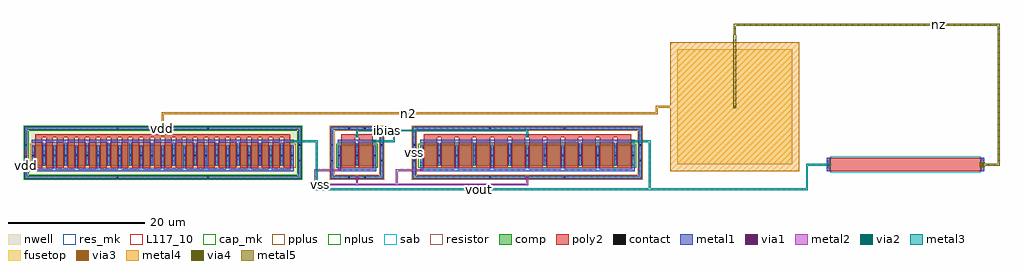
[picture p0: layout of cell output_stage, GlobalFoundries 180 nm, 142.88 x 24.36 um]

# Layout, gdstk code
import gdstk
lib = gdstk.Library(unit=1e-6, precision=1e-09)
def R(c, l, rs):  # rectangles x0, y0, x1, y1
    for r in rs: c.add(gdstk.rectangle(r[:2], r[2:], *l))
def A(c, l, x, y, w, h, nx, ny, dx, dy):  # array of equal rectangles
    R(c, l, [(x+i*dx, y+j*dy, x+i*dx+w, y+j*dy+h) for i in range(nx) for j in range(ny)])
def P(c, l, *ps):  # polygons
    for p in ps: c.add(gdstk.Polygon(p, *l))
nwell = (21, 0)
comp = (22, 0)
poly2 = (30, 0)
pplus = (31, 0)
nplus = (32, 0)
contact = (33, 0)
metal1 = (34, 0)
via1 = (35, 0)
metal2 = (36, 0)
via2 = (38, 0)
via3 = (40, 0)
via4 = (41, 0)
metal3 = (42, 0)
metal4 = (46, 0)
sab = (49, 0)
resistor = (62, 0)
fusetop = (75, 0)
metal5 = (81, 0)
res_mk = (110, 5)
cap_mk = (117, 5)
L117_10 = (117, 10)

output_stage_m6__core = lib.new_cell('output_stage_m6__core')
R(output_stage_m6__core, nwell, [(-1.22,-1.22,39.56,6.68), (-0.15,-0.15,38.49,5.61)])
R(output_stage_m6__core, comp, [(0,0.82,38.34,3.82)])
P(output_stage_m6__core, comp, [(-1.07,-1.07),(-1.07,6.11),(-0.65,6.11),(-0.65,-0.65),(38.99,-0.65),(38.99,6.11),(-1.07,6.11),(-1.07,6.53),(39.41,6.53),(39.41,-1.07)])
A(output_stage_m6__core, poly2, 0.5, 0.57, 1, 4.47, 24, 1, 1.58, 0)
R(output_stage_m6__core, poly2, [(0.5,5.04,37.84,5.46)])
R(output_stage_m6__core, pplus, [(-0.25,0.57,38.59,4.07)])
P(output_stage_m6__core, nplus, [(-1.23,-1.23),(-1.23,5.95),(-0.49,5.95),(-0.49,-0.49),(38.83,-0.49),(38.83,5.95),(-1.23,5.95),(-1.23,6.69),(39.57,6.69),(39.57,-1.23)])
A(output_stage_m6__core, contact, 0.1, 2.21, 0.22, 0.22, 25, 1, 1.58, 0)
R(output_stage_m6__core, contact, [(12.455,-0.97,12.675,-0.75), (25.665,-0.97,25.885,-0.75), (-0.97,1.495,-0.75,1.715), (39.09,1.495,39.31,1.715), (-0.97,3.745,-0.75,3.965), (39.09,3.745,39.31,3.965), (19.06,5.14,19.28,5.36), (12.455,6.21,12.675,6.43), (25.665,6.21,25.885,6.43)])
A(output_stage_m6__core, metal1, 0, 0.42, 0.42, 0.4, 13, 1, 3.16, 0)
A(output_stage_m6__core, metal1, 0, 0.82, 0.42, 3, 25, 1, 1.58, 0)
A(output_stage_m6__core, metal1, 1.58, 3.82, 0.42, 0.4, 12, 1, 3.16, 0)
R(output_stage_m6__core, metal1, [(0,0,38.34,0.42), (0,4.22,38.34,4.64), (18.96,5.04,19.38,5.46)])
P(output_stage_m6__core, metal1, [(-1.07,-1.07),(-1.07,6.11),(-0.65,6.11),(-0.65,-0.65),(38.99,-0.65),(38.99,6.11),(-1.07,6.11),(-1.07,6.53),(39.41,6.53),(39.41,-1.07)])

m6__output_stage_m6 = lib.new_cell('m6__output_stage_m6')
m6__output_stage_m6.add(gdstk.Reference(output_stage_m6__core, (0,0)))

output_stage_mb1__core = lib.new_cell('output_stage_mb1__core')
R(output_stage_mb1__core, comp, [(0,0.82,5.58,3.82)])
P(output_stage_mb1__core, comp, [(-1.07,-1.07),(-1.07,6.11),(-0.65,6.11),(-0.65,-0.65),(6.23,-0.65),(6.23,6.11),(-1.07,6.11),(-1.07,6.53),(6.65,6.53),(6.65,-1.07)])
R(output_stage_mb1__core, poly2, [(0.5,0.57,2.5,5.04), (3.08,0.57,5.08,5.04), (0.5,5.04,5.08,5.46)])
P(output_stage_mb1__core, pplus, [(-1.23,-1.23),(-1.23,5.95),(-0.49,5.95),(-0.49,-0.49),(6.07,-0.49),(6.07,5.95),(-1.23,5.95),(-1.23,6.69),(6.81,6.69),(6.81,-1.23)])
R(output_stage_mb1__core, nplus, [(-0.25,0.57,5.83,4.07)])
A(output_stage_mb1__core, contact, 0.1, 2.21, 0.22, 0.22, 3, 1, 2.58, 0)
R(output_stage_mb1__core, contact, [(1.535,-0.97,1.755,-0.75), (3.825,-0.97,4.045,-0.75), (-0.97,1.495,-0.75,1.715), (6.33,1.495,6.55,1.715), (-0.97,3.745,-0.75,3.965), (6.33,3.745,6.55,3.965), (2.68,5.14,2.9,5.36), (1.535,6.21,1.755,6.43), (3.825,6.21,4.045,6.43)])
A(output_stage_mb1__core, metal1, 0, 0.82, 0.42, 3, 3, 1, 2.58, 0)
R(output_stage_mb1__core, metal1, [(0,0,5.58,0.42), (0,0.42,0.42,0.82), (5.16,0.42,5.58,0.82), (2.58,3.82,3,4.22), (0,4.22,5.58,4.64), (2.58,5.04,3,5.46)])
P(output_stage_mb1__core, metal1, [(-1.07,-1.07),(-1.07,6.11),(-0.65,6.11),(-0.65,-0.65),(6.23,-0.65),(6.23,6.11),(-1.07,6.11),(-1.07,6.53),(6.65,6.53),(6.65,-1.07)])

mb1__output_stage_mb1 = lib.new_cell('mb1__output_stage_mb1')
mb1__output_stage_mb1.add(gdstk.Reference(output_stage_mb1__core, (0,0)))

output_stage_m7__core = lib.new_cell('output_stage_m7__core')
R(output_stage_m7__core, comp, [(0,0.82,31.38,3.82)])
P(output_stage_m7__core, comp, [(-1.07,-1.07),(-1.07,6.11),(-0.65,6.11),(-0.65,-0.65),(32.03,-0.65),(32.03,6.11),(-1.07,6.11),(-1.07,6.53),(32.45,6.53),(32.45,-1.07)])
A(output_stage_m7__core, poly2, 0.5, 0.57, 2, 4.47, 12, 1, 2.58, 0)
R(output_stage_m7__core, poly2, [(0.5,5.04,30.88,5.46)])
P(output_stage_m7__core, pplus, [(-1.23,-1.23),(-1.23,5.95),(-0.49,5.95),(-0.49,-0.49),(31.87,-0.49),(31.87,5.95),(-1.23,5.95),(-1.23,6.69),(32.61,6.69),(32.61,-1.23)])
R(output_stage_m7__core, nplus, [(-0.25,0.57,31.63,4.07)])
A(output_stage_m7__core, contact, 0.1, 2.21, 0.22, 0.22, 13, 1, 2.58, 0)
R(output_stage_m7__core, contact, [(10.135,-0.97,10.355,-0.75), (21.025,-0.97,21.245,-0.75), (-0.97,1.495,-0.75,1.715), (32.13,1.495,32.35,1.715), (-0.97,3.745,-0.75,3.965), (32.13,3.745,32.35,3.965), (15.58,5.14,15.8,5.36), (10.135,6.21,10.355,6.43), (21.025,6.21,21.245,6.43)])
A(output_stage_m7__core, metal1, 0, 0.42, 0.42, 0.4, 7, 1, 5.16, 0)
A(output_stage_m7__core, metal1, 0, 0.82, 0.42, 3, 13, 1, 2.58, 0)
A(output_stage_m7__core, metal1, 2.58, 3.82, 0.42, 0.4, 6, 1, 5.16, 0)
R(output_stage_m7__core, metal1, [(0,0,31.38,0.42), (0,4.22,31.38,4.64), (15.48,5.04,15.9,5.46)])
P(output_stage_m7__core, metal1, [(-1.07,-1.07),(-1.07,6.11),(-0.65,6.11),(-0.65,-0.65),(32.03,-0.65),(32.03,6.11),(-1.07,6.11),(-1.07,6.53),(32.45,6.53),(32.45,-1.07)])

m7__output_stage_m7 = lib.new_cell('m7__output_stage_m7')
m7__output_stage_m7.add(gdstk.Reference(output_stage_m7__core, (0,0)))

output_stage_cc__core = lib.new_cell('output_stage_cc__core')
R(output_stage_cc__core, via4, [(9.33,9.33,9.59,9.59)])
R(output_stage_cc__core, metal4, [(0,0,18.92,18.92)])
R(output_stage_cc__core, fusetop, [(1.06,1.06,17.86,17.86)])
R(output_stage_cc__core, metal5, [(9.23,9.23,9.69,9.69), (9.23,9.69,9.69,19.42), (9.23,19.42,9.69,19.88)])
R(output_stage_cc__core, cap_mk, [(1.06,1.06,17.86,17.86)])
R(output_stage_cc__core, L117_10, [(1.06,1.06,17.86,17.86)])

cc__output_stage_cc = lib.new_cell('cc__output_stage_cc')
cc__output_stage_cc.add(gdstk.Reference(output_stage_cc__core, (0,0)))

output_stage_rz__core = lib.new_cell('output_stage_rz__core')
R(output_stage_rz__core, poly2, [(0,0,23.04,2)])
R(output_stage_rz__core, contact, [(0.15,0.89,0.37,1.11), (22.67,0.89,22.89,1.11)])
R(output_stage_rz__core, metal1, [(0,0,0.52,2), (22.52,0,23.04,2)])
R(output_stage_rz__core, sab, [(0.52,-0.22,22.52,2.22)])
R(output_stage_rz__core, resistor, [(0.52,0,22.52,2)])
R(output_stage_rz__core, res_mk, [(0.52,0,22.52,2)])

rz__output_stage_rz = lib.new_cell('rz__output_stage_rz')
rz__output_stage_rz.add(gdstk.Reference(output_stage_rz__core, (0,0)))

output_stage = lib.new_cell('output_stage')
R(output_stage, metal1, [(47.38,-1.07,47.8,-0.65), (47.38,-1.07,47.8,-0.65), (72.32,-1.07,72.74,-0.65), (72.32,-1.07,72.74,-0.65), (0,0,0.42,0.42), (44.8,0,45.22,0.42), (56.84,0,57.26,0.42), (116.42,0.79,116.84,1.21), (138.94,0.79,139.36,1.21), (-1.07,2.52,-0.65,2.94), (37.92,4.22,38.34,4.64), (49.96,4.22,50.38,4.64), (87.8,4.22,88.22,4.64), (87.8,4.22,88.22,4.64), (18.96,5.04,19.38,5.46), (47.38,5.04,47.8,5.46), (47.38,5.04,47.8,5.46), (72.32,5.04,72.74,5.46)])
R(output_stage, via1, [(47.46,-0.99,47.72,-0.73), (47.46,-0.99,47.72,-0.73), (72.4,-0.99,72.66,-0.73), (72.4,-0.99,72.66,-0.73), (0.08,0.08,0.34,0.34), (44.88,0.08,45.14,0.34), (56.92,0.08,57.18,0.34), (116.5,0.87,116.76,1.13), (139.02,0.87,139.28,1.13), (-0.99,2.6,-0.73,2.86), (38,4.3,38.26,4.56), (50.04,4.3,50.3,4.56), (87.88,4.3,88.14,4.56), (87.88,4.3,88.14,4.56), (19.04,5.12,19.3,5.38), (47.46,5.12,47.72,5.38), (47.46,5.12,47.72,5.38), (72.4,5.12,72.66,5.38)])
R(output_stage, metal2, [(47.38,-1.07,47.8,-0.65), (47.38,-1.07,47.8,-0.65), (72.32,-1.07,72.74,-0.65), (72.32,-1.07,72.74,-0.65), (0,0,0.42,0.42), (44.8,0,45.22,0.42), (56.84,0,57.26,0.42), (116.42,0.79,116.84,1.21), (116.42,0.79,116.84,1.21), (138.94,0.79,139.36,1.21), (138.94,0.79,139.36,1.21), (-1.07,2.52,-0.65,2.94), (37.92,4.22,38.34,4.64), (37.92,4.22,38.34,4.64), (49.96,4.22,50.38,4.64), (49.96,4.22,50.38,4.64), (87.8,4.22,88.22,4.64), (87.8,4.22,88.22,4.64), (87.8,4.22,88.22,4.64), (87.8,4.22,88.22,4.64), (18.96,5.04,19.38,5.46), (18.96,5.04,19.38,5.46), (47.38,5.04,47.8,5.46), (47.38,5.04,47.8,5.46), (47.38,5.04,47.8,5.46), (47.38,5.04,47.8,5.46), (72.32,5.04,72.74,5.46), (72.32,5.04,72.74,5.46)])
R(output_stage, via2, [(116.5,0.87,116.76,1.13), (139.02,0.87,139.28,1.13), (38,4.3,38.26,4.56), (50.04,4.3,50.3,4.56), (87.88,4.3,88.14,4.56), (87.88,4.3,88.14,4.56), (19.04,5.12,19.3,5.38), (47.46,5.12,47.72,5.38), (47.46,5.12,47.72,5.38), (72.4,5.12,72.66,5.38)])
R(output_stage, via3, [(139.02,0.87,139.28,1.13), (19.04,5.12,19.3,5.38)])
R(output_stage, via4, [(139.02,0.87,139.28,1.13)])
R(output_stage, metal3, [(116.42,0.79,116.84,1.21), (138.94,0.79,139.36,1.21), (138.94,0.79,139.36,1.21), (37.92,4.22,38.34,4.64), (49.96,4.22,50.38,4.64), (87.8,4.22,88.22,4.64), (87.8,4.22,88.22,4.64), (18.96,5.04,19.38,5.46), (18.96,5.04,19.38,5.46), (47.38,5.04,47.8,5.46), (47.38,5.04,47.8,5.46), (72.32,5.04,72.74,5.46)])
R(output_stage, metal4, [(138.94,0.79,139.36,1.21), (138.94,0.79,139.36,1.21), (18.96,5.04,19.38,5.46)])
R(output_stage, metal5, [(138.775,0.625,139.525,1.375), (102.68,19.65,103.14,19.93)])
output_stage.add(gdstk.FlexPath([(19.17,5.25),(19.17,8.5),(91.5,8.5),(91.5,9.46),(93.45,9.46)], 0.28, ends="flush", simple_path=True, layer=46, datatype=0))  # metal4
output_stage.add(gdstk.FlexPath([(102.91,19.65),(102.91,21.48),(141.51,21.48),(141.51,1),(139.15,1)], 0.28, ends="flush", simple_path=True, layer=81, datatype=0))  # metal5
output_stage.add(gdstk.FlexPath([(50.17,4.43),(53.01,4.43),(53.01,6),(47.59,6),(47.59,5.25)], 0.28, ends="flush", simple_path=True, layer=42, datatype=0))  # metal3
output_stage.add(gdstk.FlexPath([(47.59,5.25),(47.59,6),(72.53,6),(72.53,5.25)], 0.28, ends="flush", simple_path=True, layer=42, datatype=0))  # metal3
output_stage.add(gdstk.FlexPath([(38.13,4.43),(41.67,4.43),(41.67,-2.6),(90.45,-2.6),(90.45,4.43),(88.01,4.43)], 0.28, ends="flush", simple_path=True, layer=42, datatype=0))  # metal3
output_stage.add(gdstk.FlexPath([(88.01,4.43),(90.45,4.43),(90.45,-2.6),(113.47,-2.6),(113.47,1),(116.63,1)], 0.28, ends="flush", simple_path=True, layer=42, datatype=0))  # metal3
output_stage.add(gdstk.FlexPath([(0.21,0.21),(-0.86,0.21),(-0.86,2.73),(-0.86,2.73)], 0.28, ends="flush", simple_path=True, layer=36, datatype=0))  # metal2
output_stage.add(gdstk.FlexPath([(45.01,0.21),(41.47,0.21),(41.47,-1.9),(47.59,-1.9),(47.59,-0.86)], 0.28, ends="flush", simple_path=True, layer=36, datatype=0))  # metal2
output_stage.add(gdstk.FlexPath([(47.59,-0.86),(47.59,-1.9),(72.53,-1.9),(72.53,-0.86)], 0.28, ends="flush", simple_path=True, layer=36, datatype=0))  # metal2
output_stage.add(gdstk.FlexPath([(72.53,-0.86),(72.53,-1.9),(53.41,-1.9),(53.41,0.21),(57.05,0.21)], 0.28, ends="flush", simple_path=True, layer=36, datatype=0))  # metal2
output_stage.add(gdstk.Reference(m6__output_stage_m6, (0,0)))
output_stage.add(gdstk.Reference(mb1__output_stage_mb1, (44.8,0)))
output_stage.add(gdstk.Reference(m7__output_stage_m7, (56.84,0)))
output_stage.add(gdstk.Reference(cc__output_stage_cc, (93.45,0)))
output_stage.add(gdstk.Reference(rz__output_stage_rz, (116.37,0)))
output_stage.add(gdstk.Label('ibias', (52.13,6), layer=42, texttype=10))
output_stage.add(gdstk.Label('vout', (65.51,-2.6), layer=42, texttype=10))
output_stage.add(gdstk.Label('n2', (55.165,8.5), layer=46, texttype=10))
output_stage.add(gdstk.Label('nz', (132.715,21.48), layer=81, texttype=10))
output_stage.add(gdstk.Label('vdd', (-0.86,0.935), layer=36, texttype=10))
output_stage.add(gdstk.Label('vss', (42.225,-1.9), layer=36, texttype=10))
output_stage.add(gdstk.Label('vdd', (19.17,6.32), layer=34, texttype=10))
output_stage.add(gdstk.Label('vss', (55.98,2.73), layer=34, texttype=10))

lib.write_gds('output_stage.gds')
